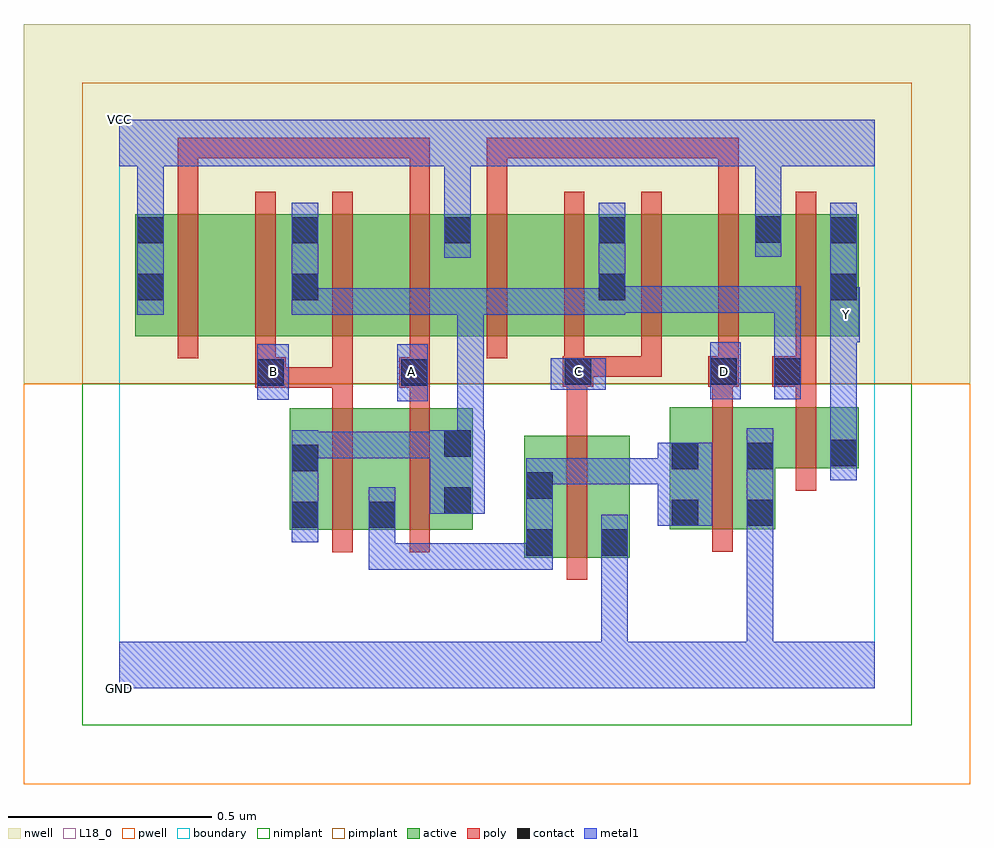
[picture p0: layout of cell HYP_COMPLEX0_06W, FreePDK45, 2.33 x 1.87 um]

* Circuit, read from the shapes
.subckt HYP_COMPLEX0_06W A B C D GND VCC Y
M1 n1 B n2 VSUBS nfet w=0.3u l=0.05u
M2 n2 A n1 VSUBS nfet w=0.3u l=0.05u
M3 GND C n1 VSUBS nfet w=0.3u l=0.05u
M4 GND D n1 VSUBS nfet w=0.3u l=0.05u
M5 Y n2 GND VSUBS nfet w=0.15u l=0.05u
M6 n3 A VCC n4 pfet w=0.3u l=0.05u
M7 n2 B n3 n4 pfet w=0.3u l=0.05u
M8 n5 B n2 n4 pfet w=0.3u l=0.05u
M9 VCC A n5 n4 pfet w=0.3u l=0.05u
M10 n6 D VCC n4 pfet w=0.3u l=0.05u
M11 n2 C n6 n4 pfet w=0.3u l=0.05u
M12 n7 C n2 n4 pfet w=0.3u l=0.05u
M13 VCC D n7 n4 pfet w=0.3u l=0.05u
M14 Y n2 VCC n4 pfet w=0.3u l=0.05u
.ends

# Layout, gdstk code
import gdstk
lib = gdstk.Library(unit=1e-6, precision=1e-09)
def R(c, l, rs):  # rectangles x0, y0, x1, y1
    for r in rs: c.add(gdstk.rectangle(r[:2], r[2:], *l))
def A(c, l, x, y, w, h, nx, ny, dx, dy):  # array of equal rectangles
    R(c, l, [(x+i*dx, y+j*dy, x+i*dx+w, y+j*dy+h) for i in range(nx) for j in range(ny)])
active = (1, 0)
pwell = (2, 0)
nwell = (3, 0)
nimplant = (4, 0)
pimplant = (5, 0)
poly = (9, 0)
contact = (10, 0)
metal1 = (11, 0)
L18_0 = (18, 0)
boundary = (235, 0)

hyp_complex0_06w = lib.new_cell('HYP_COMPLEX0_06W')
R(hyp_complex0_06w, active, [(0.997,0.322,1.257,0.622), (0.997,0.322,1.072,0.622), (1.182,0.322,1.257,0.622), (0.42,0.39,0.495,0.69), (0.42,0.39,0.685,0.69), (0.61,0.39,0.87,0.69), (0.61,0.39,0.685,0.652), (1.355,0.392,1.615,0.692), (0.795,0.395,0.87,0.69), (1.355,0.395,1.43,0.692), (1.54,0.395,1.615,0.692), (1.54,0.542,1.82,0.692), (1.745,0.542,1.82,0.692), (0.04,0.867,0.115,1.167), (0.04,0.867,0.265,1.167), (0.265,0.867,0.495,1.167), (0.42,0.867,0.495,1.167), (0.42,0.867,0.645,1.167), (0.645,0.867,0.87,1.167), (0.795,0.867,0.87,1.167), (0.795,0.867,1.025,1.167), (1.025,0.867,1.25,1.167), (1.175,0.867,1.25,1.167), (1.175,0.867,1.405,1.167), (1.405,0.867,1.635,1.167), (1.56,0.867,1.82,1.167), (1.56,0.867,1.635,1.167), (1.745,0.867,1.82,1.165)])
R(hyp_complex0_06w, pwell, [(-0.235,-0.235,2.095,0.75)])
R(hyp_complex0_06w, nwell, [(-0.235,0.75,2.095,1.635)])
R(hyp_complex0_06w, nimplant, [(-0.09,-0.09,1.95,0.75)])
R(hyp_complex0_06w, pimplant, [(-0.09,0.75,1.95,1.49)])
A(hyp_complex0_06w, poly, 1.095, 0.767, 0.05, 0.095, 4, 1, 0.19, 0)
A(hyp_complex0_06w, poly, 0.145, 0.812, 0.05, 0.41, 9, 1, 0.19, 0)
R(hyp_complex0_06w, poly, [(1.102,0.267,1.152,0.677), (0.525,0.335,0.575,0.745), (0.715,0.335,0.765,0.745), (1.46,0.337,1.51,0.747), (1.665,0.487,1.715,0.747), (1.102,0.627,1.152,0.792), (0.525,0.695,0.575,0.79), (0.715,0.695,0.765,0.79), (1.46,0.697,1.51,0.792), (1.665,0.697,1.715,0.792), (0.335,0.74,0.41,0.815), (0.36,0.74,0.575,0.79), (0.525,0.74,0.575,0.79), (0.525,0.74,0.575,0.79), (0.525,0.74,0.575,0.79), (0.525,0.74,0.575,0.862), (0.69,0.74,0.765,0.815), (1.092,0.742,1.167,0.817), (1.45,0.742,1.525,0.817), (1.607,0.742,1.715,0.817), (0.335,0.765,0.385,0.862), (0.715,0.765,0.765,0.862), (1.117,0.767,1.167,0.817), (1.117,0.767,1.167,0.817), (1.117,0.767,1.335,0.817), (1.285,0.767,1.335,0.817), (0.145,1.172,0.195,1.355), (0.715,1.172,0.765,1.355), (0.905,1.172,0.955,1.355), (1.475,1.172,1.525,1.355), (0.145,1.305,0.195,1.355), (0.145,1.305,0.195,1.355), (0.145,1.305,0.195,1.355), (0.145,1.305,0.327,1.355), (0.277,1.305,0.327,1.355), (0.277,1.305,0.542,1.355), (0.492,1.305,0.542,1.355), (0.492,1.305,0.542,1.355), (0.492,1.305,0.542,1.355), (0.492,1.305,0.765,1.355), (0.715,1.305,0.765,1.355), (0.715,1.305,0.765,1.355), (0.715,1.305,0.765,1.355), (0.905,1.305,0.955,1.355), (0.905,1.305,0.955,1.355), (0.905,1.305,0.955,1.355), (0.905,1.305,1.202,1.355), (1.152,1.305,1.202,1.355), (1.152,1.305,1.202,1.355), (1.152,1.305,1.202,1.355), (1.152,1.305,1.367,1.355), (1.317,1.305,1.525,1.355), (1.317,1.305,1.367,1.355), (1.317,1.305,1.367,1.355), (1.317,1.305,1.367,1.355), (1.475,1.305,1.525,1.355)])
R(hyp_complex0_06w, contact, [(1.002,0.327,1.067,0.392), (1.187,0.327,1.252,0.392), (0.425,0.395,0.49,0.46), (0.615,0.395,0.68,0.46), (1.36,0.4,1.425,0.465), (1.545,0.4,1.61,0.465), (0.8,0.43,0.865,0.495), (1.002,0.467,1.067,0.532), (0.425,0.535,0.49,0.6), (1.36,0.54,1.425,0.605), (1.545,0.54,1.61,0.605), (1.75,0.547,1.815,0.612), (0.8,0.57,0.865,0.635), (0.34,0.745,0.405,0.81), (0.695,0.745,0.76,0.81), (1.097,0.747,1.162,0.812), (1.455,0.747,1.52,0.812), (1.612,0.747,1.677,0.812), (0.045,0.955,0.11,1.02), (0.425,0.955,0.49,1.02), (1.18,0.955,1.245,1.02), (1.75,0.955,1.815,1.02), (0.045,1.095,0.11,1.16), (0.425,1.095,0.49,1.16), (0.8,1.095,0.865,1.16), (1.18,1.095,1.245,1.16), (1.75,1.095,1.815,1.16), (1.565,1.097,1.63,1.162)])
R(hyp_complex0_06w, metal1, [(0,0,1.86,0.115), (1.187,0.05,1.252,0.357), (1.545,0.05,1.61,0.115), (1.545,0.05,1.61,0.115), (1.545,0.05,1.61,0.115), (1.545,0.05,1.61,0.115), (1.545,0.05,1.61,0.43), (0.615,0.292,0.817,0.357), (0.615,0.292,0.68,0.425), (0.752,0.292,0.817,0.357), (0.752,0.292,0.99,0.357), (0.925,0.292,0.99,0.357), (0.925,0.292,1.067,0.357), (1.002,0.292,1.067,0.567), (1.187,0.292,1.252,0.357), (1.187,0.292,1.252,0.357), (1.187,0.292,1.252,0.357), (1.187,0.292,1.252,0.357), (1.187,0.292,1.252,0.427), (0.425,0.36,0.49,0.635), (0.615,0.36,0.68,0.425), (0.615,0.36,0.68,0.495), (1.545,0.365,1.61,0.64), (1.325,0.4,1.46,0.605), (0.765,0.43,0.9,0.635), (1.002,0.502,1.067,0.567), (1.002,0.502,1.067,0.567), (1.002,0.502,1.225,0.567), (1.16,0.502,1.225,0.567), (1.16,0.502,1.225,0.567), (1.16,0.502,1.225,0.567), (1.16,0.502,1.382,0.567), (1.317,0.502,1.382,0.567), (1.317,0.502,1.39,0.567), (1.75,0.512,1.815,0.647), (0.425,0.567,0.49,0.632), (0.425,0.567,0.49,0.632), (0.425,0.567,0.627,0.632), (0.562,0.567,0.627,0.632), (0.562,0.567,0.83,0.632), (0.765,0.567,0.83,0.632), (0.765,0.567,0.83,0.632), (0.832,0.57,0.897,0.635), (0.832,0.57,0.897,0.635), (0.832,0.57,0.897,0.985), (1.75,0.582,1.815,0.917), (0.685,0.707,0.76,0.847), (0.34,0.71,0.417,0.847), (1.455,0.712,1.53,0.852), (1.612,0.712,1.677,0.847), (1.062,0.735,1.197,0.812), (1.612,0.782,1.677,0.847), (1.612,0.782,1.677,0.847), (1.612,0.782,1.677,0.99), (1.75,0.852,1.822,0.987), (0.045,0.92,0.11,1.195), (0.425,0.92,0.49,1.195), (0.425,0.92,0.542,0.985), (0.477,0.92,0.542,0.985), (0.477,0.92,0.68,0.985), (0.615,0.92,0.68,0.985), (0.615,0.92,0.68,0.985), (0.615,0.92,0.68,0.985), (0.615,0.92,0.897,0.985), (0.832,0.92,0.897,0.985), (0.832,0.92,0.99,0.985), (0.925,0.92,0.99,0.985), (0.925,0.92,1.037,0.985), (0.972,0.92,1.037,0.985), (0.972,0.92,1.245,0.985), (1.18,0.92,1.245,0.985), (1.18,0.92,1.245,0.985), (1.18,0.92,1.245,1.195), (1.75,0.92,1.815,0.985), (1.75,0.92,1.815,1.195), (1.18,0.925,1.382,0.99), (1.317,0.925,1.382,0.99), (1.317,0.925,1.382,0.99), (1.317,0.925,1.382,0.99), (1.317,0.925,1.54,0.99), (1.475,0.925,1.54,0.99), (1.475,0.925,1.677,0.99), (1.612,0.925,1.677,0.99), (0.8,1.06,0.865,1.195), (1.565,1.062,1.63,1.197), (0.045,1.13,0.11,1.35), (0.8,1.13,0.865,1.35), (1.565,1.132,1.63,1.197), (1.565,1.132,1.63,1.197), (1.565,1.132,1.63,1.35), (0,1.285,1.86,1.4), (0.045,1.285,0.11,1.35), (0.045,1.285,0.11,1.35), (0.8,1.285,0.865,1.35), (0.8,1.285,0.865,1.35)])
R(hyp_complex0_06w, L18_0, [(0,0,1.86,0.115), (1.187,0.05,1.252,0.357), (1.545,0.05,1.61,0.115), (1.545,0.05,1.61,0.115), (1.545,0.05,1.61,0.115), (1.545,0.05,1.61,0.115), (1.545,0.05,1.61,0.43), (1.187,0.292,1.252,0.357), (1.187,0.292,1.252,0.357), (1.187,0.292,1.252,0.357), (1.187,0.292,1.252,0.357), (1.187,0.292,1.252,0.427), (1.545,0.365,1.61,0.64), (1.75,0.512,1.815,0.647), (1.75,0.582,1.815,0.917), (0.685,0.707,0.76,0.847), (0.34,0.71,0.417,0.847), (1.455,0.712,1.53,0.852), (1.062,0.735,1.197,0.812), (0.347,0.747,0.412,0.812), (0.687,0.747,0.752,0.812), (1.097,0.747,1.162,0.812), (1.457,0.747,1.522,0.812), (1.75,0.852,1.822,0.987), (1.757,0.887,1.822,0.952), (0.045,0.92,0.11,1.195), (1.75,0.92,1.815,1.195), (1.75,0.92,1.815,0.985), (0.8,1.06,0.865,1.195), (1.565,1.062,1.63,1.197), (0.045,1.13,0.11,1.35), (0.8,1.13,0.865,1.35), (1.565,1.132,1.63,1.197), (1.565,1.132,1.63,1.197), (1.565,1.132,1.63,1.35), (0,1.285,1.86,1.4), (0.045,1.285,0.11,1.35), (0.045,1.285,0.11,1.35), (0.8,1.285,0.865,1.35), (0.8,1.285,0.865,1.35)])
R(hyp_complex0_06w, boundary, [(0,0,1.86,1.4)])
hyp_complex0_06w.add(gdstk.Label('A', (0.72,0.78), layer=11, texttype=0))
hyp_complex0_06w.add(gdstk.Label('B', (0.38,0.78), layer=11, texttype=0))
hyp_complex0_06w.add(gdstk.Label('C', (1.13,0.78), layer=11, texttype=0))
hyp_complex0_06w.add(gdstk.Label('D', (1.49,0.78), layer=11, texttype=0))
hyp_complex0_06w.add(gdstk.Label('Y', (1.79,0.92), layer=11, texttype=0))
hyp_complex0_06w.add(gdstk.Label('VCC', (0,1.4), layer=11, texttype=0))
hyp_complex0_06w.add(gdstk.Label('GND', (0,0), layer=11, texttype=0))

lib.write_gds('HYP_COMPLEX0_06W.gds')
